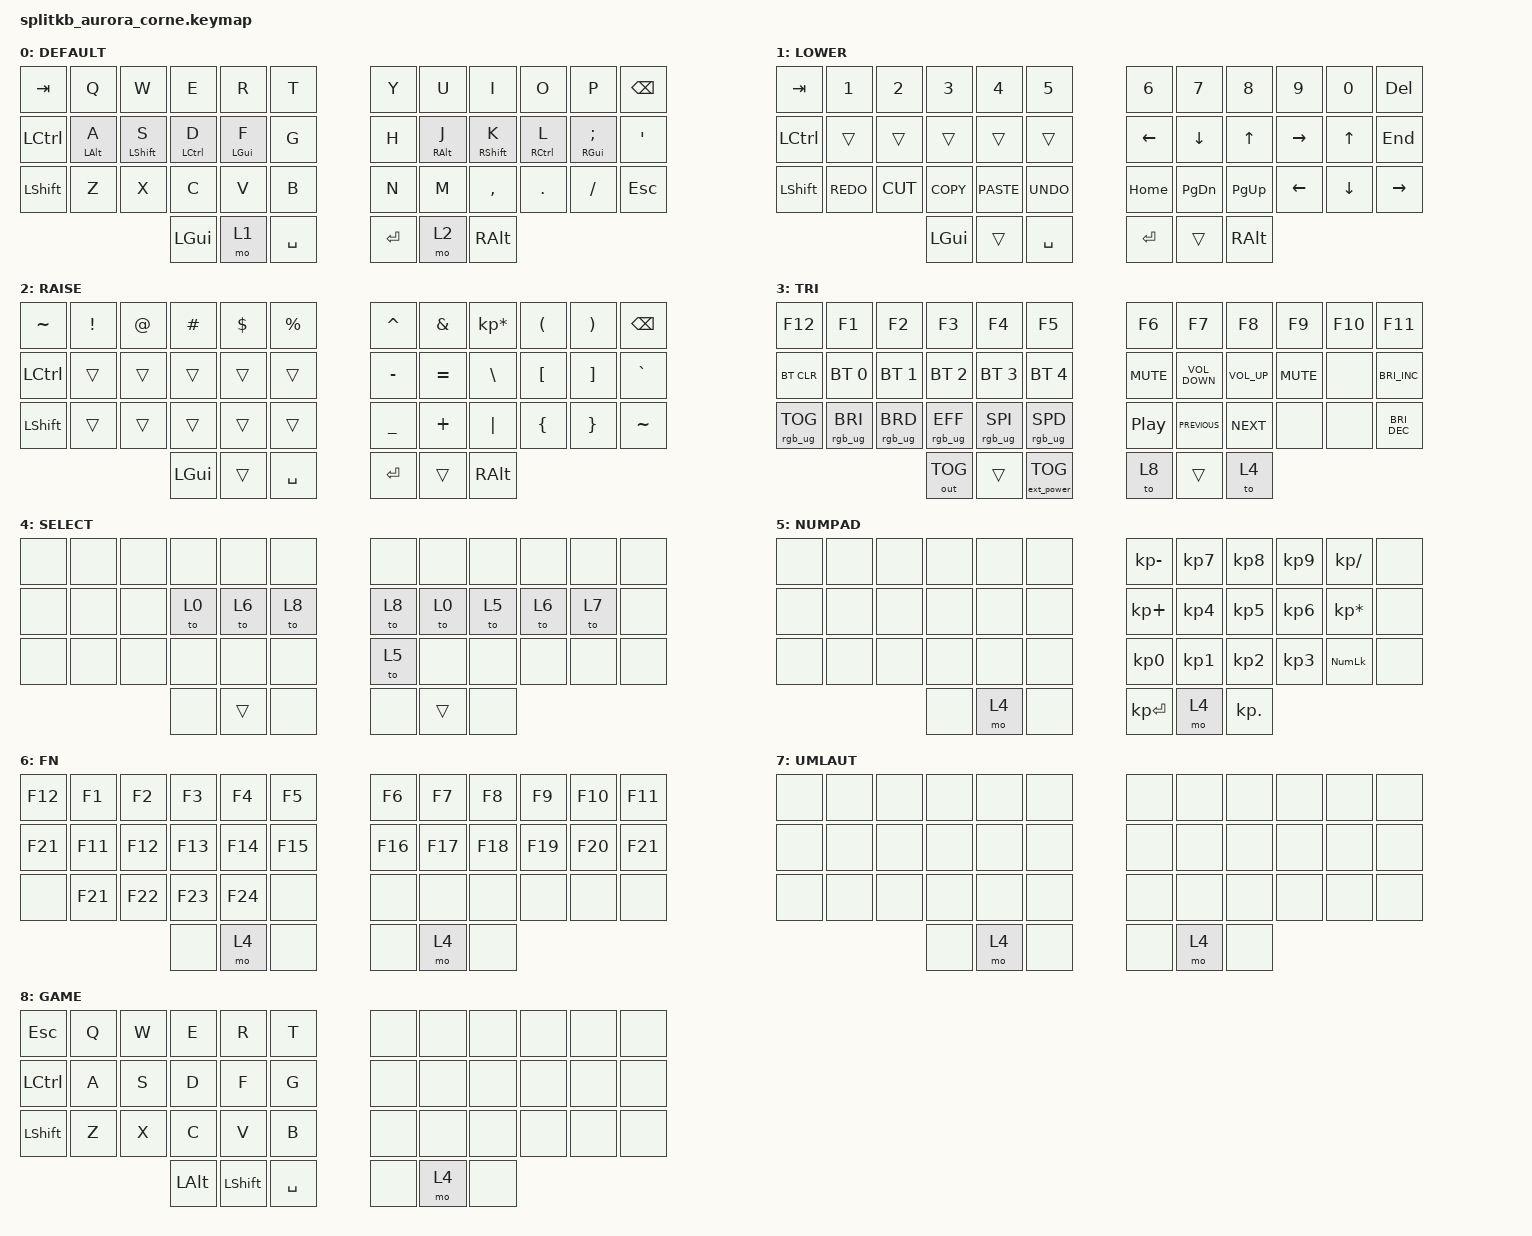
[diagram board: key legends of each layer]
/*
 * Copyright (c) 2020 The ZMK Contributors
 *
 * SPDX-License-Identifier: MIT
 */

#include <behaviors.dtsi>
#include <dt-bindings/zmk/keys.h>
#include <dt-bindings/zmk/bt.h>
#include <dt-bindings/zmk/ext_power.h>
#include <dt-bindings/zmk/outputs.h>
#include <dt-bindings/zmk/rgb.h>

#define DEFAULT 0
#define LOWER  1
#define RAISE  2
#define TRI    3
#define SELECT 4
#define NUMPAD 5
#define FN     6
#define UMLAUT 7
#define GAME   8


// ---------------------------
// Set number of underglow + per-key RGB LEDs
&led_strip {
    chain-length = <21>;  // using only per-key RGBs
};


// ---------------------------
/ {
// -------------------- Home row mods
    behaviors {
        hm: homerow_mods {
            compatible = "zmk,behavior-hold-tap";
            label = "HOMEROW_MODS";
            #binding-cells = <2>;
            tapping-term-ms = <220>;
            quick-tap-ms = <0>;
            flavor = "balanced";
            bindings = <&kp>, <&kp>;
        };
    };


// -------------------- Tri layer condition
    conditional_layers {
        compatible = "zmk,conditional-layers";
        tri_layer {
            if-layers = <1 2>;
            then-layer = <3>;
        };
    };


// -------------------- Layers
    keymap {
        compatible = "zmk,keymap";

// -------------------- Layer 0 aka DEFAULT (base alpha layer)
        default_layer {
            bindings = <
  &kp TAB       &kp Q        &kp W         &kp E       &kp R      &kp T      &kp Y       &kp U        &kp I        &kp O          &kp P  &kp BSPC
&kp LCTRL  &hm LALT A  &hm LSHFT S   &hm LCTRL D  &hm LGUI F      &kp G      &kp H  &hm RALT J  &hm RSHFT K  &hm RCTRL L  &hm RGUI SEMI  &kp SQT
&kp LSHFT       &kp Z        &kp X         &kp C       &kp V      &kp B      &kp N       &kp M    &kp COMMA      &kp DOT       &kp FSLH  &kp ESC
                                        &kp LGUI       &mo 1  &kp SPACE    &kp RET       &mo 2     &kp RALT
            >;
            label = "DEFAULT";
        };

// -------------------- Layer 1 aka LOWER
        lower_layer {
            bindings = <
   &kp TAB      &kp N1     &kp N2      &kp N3       &kp N4      &kp N5      &kp N6         &kp N7       &kp N8     &kp N9    &kp N0    &kp DEL
 &kp LCTRL      &trans     &trans      &trans       &trans      &trans    &kp LEFT       &kp DOWN       &kp UP  &kp RIGHT    &kp UP    &kp END
&kp LSHIFT  &kp K_REDO  &kp K_CUT  &kp K_COPY  &kp K_PASTE  &kp K_UNDO    &kp HOME  &kp PAGE_DOWN  &kp PAGE_UP   &kp LEFT  &kp DOWN  &kp RIGHT
                                     &kp LGUI       &trans   &kp SPACE     &kp RET         &trans     &kp RALT
            >;
            label = "LOWER";
        };

// -------------------- Layer 2 aka RAISE
        raise_layer {
            bindings = <
&kp TILDE  &kp EXCL  &kp AT  &kp HASH  &kp DLLR  &kp PRCNT    &kp CARET   &kp AMPS  &kp KP_MULTIPLY  &kp LPAR  &kp RPAR   &kp BSPC
&kp LCTRL    &trans  &trans    &trans    &trans     &trans    &kp MINUS  &kp EQUAL         &kp BSLH  &kp LBKT  &kp RBKT  &kp GRAVE
&kp LSHFT    &trans  &trans    &trans    &trans     &trans    &kp UNDER   &kp PLUS         &kp PIPE  &kp LBRC  &kp RBRC  &kp TILDE
                             &kp LGUI    &trans  &kp SPACE      &kp RET     &trans         &kp RALT
            >;
            label = "RAISE";
        };

// -------------------- Layer 3 aka TRI
        tri_layer {
            bindings = <
        &kp F12           &kp F1           &kp F2           &kp F3           &kp F4             &kp F5              &kp F6             &kp F7           &kp F8      &kp F9  &kp F10               &kp F11
     &bt BT_CLR     &bt BT_SEL 0     &bt BT_SEL 1     &bt BT_SEL 2     &bt BT_SEL 3       &bt BT_SEL 4          &kp K_MUTE  &kp C_VOLUME_DOWN  &kp C_VOLUME_UP  &kp C_MUTE    &none  &kp C_BRIGHTNESS_INC
&rgb_ug RGB_TOG  &rgb_ug RGB_BRI  &rgb_ug RGB_BRD  &rgb_ug RGB_EFF  &rgb_ug RGB_SPI    &rgb_ug RGB_SPD    &kp C_PLAY_PAUSE     &kp C_PREVIOUS       &kp C_NEXT       &none    &none  &kp C_BRIGHTNESS_DEC
                                                      &out OUT_TOG           &trans  &ext_power EP_TOG               &to 8             &trans            &to 4
            >;
            label = "TRI";
        };

// -------------------- Layer 4 aka SELECT
        select_layer {
            bindings = <
&none  &none  &none  &none   &none  &none    &none   &none  &none  &none  &none  &none
&none  &none  &none  &to 0   &to 6  &to 8    &to 8   &to 0  &to 5  &to 6  &to 7  &none
&none  &none  &none  &none   &none  &none    &to 5   &none  &none  &none  &none  &none
                     &none  &trans  &none    &none  &trans  &none
            >;
            label = "SELECT";
        };

// -------------------- Layer 5 aka NUMPAD
        numpad_layer {
            bindings = <
&none  &none  &none  &none  &none  &none    &kp KP_MINUS  &kp KP_N7   &kp KP_N8        &kp KP_N9    &kp KP_DIVIDE  &none
&none  &none  &none  &none  &none  &none     &kp KP_PLUS  &kp KP_N4   &kp KP_N5        &kp KP_N6  &kp KP_MULTIPLY  &none
&none  &none  &none  &none  &none  &none       &kp KP_N0  &kp KP_N1   &kp KP_N2  &kp KP_NUMBER_3       &kp KP_NUM  &none
                     &none  &mo 4  &none    &kp KP_ENTER      &mo 4  &kp KP_DOT
            >;
            label = "NUMPAD";
        };

// -------------------- Layer 6 aka FN
        fn_layer {
            bindings = <
&kp F12   &kp F1   &kp F2   &kp F3   &kp F4   &kp F5     &kp F6   &kp F7   &kp F8   &kp F9  &kp F10  &kp F11
&kp F21  &kp F11  &kp F12  &kp F13  &kp F14  &kp F15    &kp F16  &kp F17  &kp F18  &kp F19  &kp F20  &kp F21
  &none  &kp F21  &kp F22  &kp F23  &kp F24    &none      &none    &none    &none    &none    &none    &none
                             &none    &mo 4    &none      &none    &mo 4    &none
            >;
            label = "FN";
        };

// -------------------- Layer 7 aka UMLAUT
        umlaut_layer {
            bindings = <
&none  &none  &none  &none  &none  &none    &none  &none  &none  &none  &none  &none
&none  &none  &none  &none  &none  &none    &none  &none  &none  &none  &none  &none
&none  &none  &none  &none  &none  &none    &none  &none  &none  &none  &none  &none
                     &none  &mo 4  &none    &none  &mo 4  &none
            >;
            label = "UMLAUT";
        };

// -------------------- Layer 8 aka GAME
        game_layer {
            bindings = <
      &kp ESCAPE  &kp Q  &kp W         &kp E           &kp R      &kp T    &none  &none  &none  &none  &none  &none
&kp LEFT_CONTROL  &kp A  &kp S         &kp D           &kp F      &kp G    &none  &none  &none  &none  &none  &none
  &kp LEFT_SHIFT  &kp Z  &kp X         &kp C           &kp V      &kp B    &none  &none  &none  &none  &none  &none
                                &kp LEFT_ALT  &kp LEFT_SHIFT  &kp SPACE    &none  &mo 4  &none
            >;
            label = "GAME";
        };
    };
};
